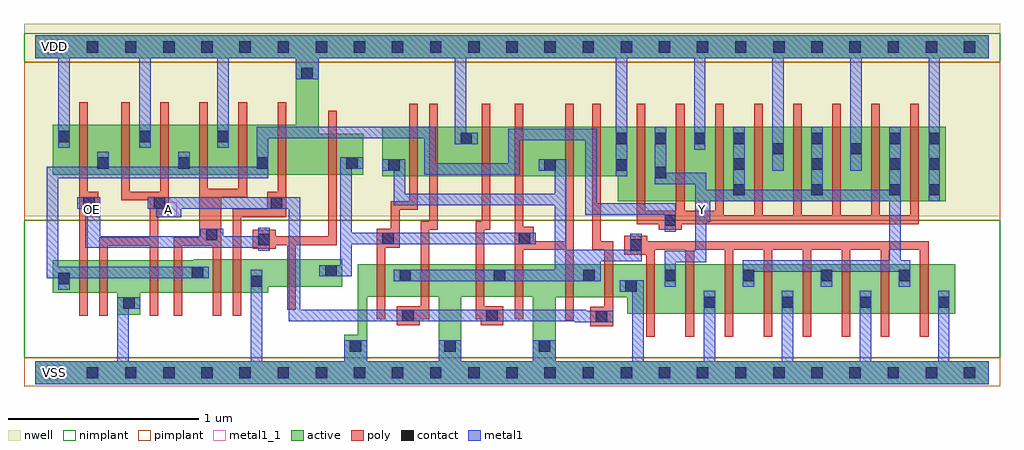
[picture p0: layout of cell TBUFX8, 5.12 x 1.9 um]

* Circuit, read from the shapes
.subckt TBUFX8 A OE VDD VSS Y
M1 n1 OE n2 VSS nfet w=0.17u l=0.045u
M2 VSS A n1 VSS nfet w=0.17u l=0.045u
M3 n3 A VSS VSS nfet w=0.17u l=0.045u
M4 n2 OE n3 VSS nfet w=0.17u l=0.045u
M5 n4 OE n2 VSS nfet w=0.175u l=0.045u
M6 VSS A n4 VSS nfet w=0.175u l=0.045u
M7 n5 OE VSS VSS nfet w=0.145u l=0.045u
M8 n6 n5 VSS VSS nfet w=0.17u l=0.045u m=2
M9 VSS A n6 VSS nfet w=0.17u l=0.045u m=2
M10 n6 n5 VSS VSS nfet w=0.175u l=0.045u
M11 VSS A n6 VSS nfet w=0.175u l=0.045u
M12 Y n6 VSS VSS nfet w=0.26u l=0.045u m=8
M13 n2 OE VDD VDD pfet w=0.26u l=0.045u m=3
M14 VDD A n2 VDD pfet w=0.26u l=0.045u m=3
M15 n5 OE VDD VDD pfet w=0.215u l=0.045u
M16 n7 n5 n6 VDD pfet w=0.26u l=0.045u
M17 VDD A n7 VDD pfet w=0.26u l=0.045u
M18 n8 A VDD VDD pfet w=0.26u l=0.045u
M19 n6 n5 n8 VDD pfet w=0.26u l=0.045u
M20 n9 n5 n6 VDD pfet w=0.26u l=0.045u
M21 VDD A n9 VDD pfet w=0.26u l=0.045u
M22 Y n2 VDD VDD pfet w=0.39u l=0.045u m=8
.ends

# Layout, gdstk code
import gdstk
lib = gdstk.Library(unit=1e-6, precision=5e-10)
def R(c, l, rs):  # rectangles x0, y0, x1, y1
    for r in rs: c.add(gdstk.rectangle(r[:2], r[2:], *l))
def A(c, l, x, y, w, h, nx, ny, dx, dy):  # array of equal rectangles
    R(c, l, [(x+i*dx, y+j*dy, x+i*dx+w, y+j*dy+h) for i in range(nx) for j in range(ny)])
def P(c, l, *ps):  # polygons
    for p in ps: c.add(gdstk.Polygon(p, *l))
active = (1, 0)
nwell = (2, 0)
poly = (3, 0)
nimplant = (4, 0)
pimplant = (5, 0)
contact = (6, 0)
metal1 = (7, 0)
metal1_1 = (7, 1)

tbufx8 = lib.new_cell('TBUFX8')
P(tbufx8, active, [(0,1.77),(5,1.77),(5,1.65),(1.485,1.65),(1.485,1.255),(1.72,1.255),(1.72,1.04),(0.09,1.04),(0.09,1.3),(1.365,1.3),(1.365,1.65),(0,1.65)],
  [(1.82,1.29),(4.775,1.29),(4.775,0.9),(3.055,0.9),(3.055,1.03),(1.82,1.03)],
  [(0.83,0.595),(1.61,0.595),(1.61,0.45),(1.22,0.45),(1.22,0.42),(0.55,0.42),(0.55,0.305),(0.43,0.305),(0.43,0.42),(0.09,0.42),(0.09,0.59),(0.83,0.59)],
  [(1.69,0.57),(4.825,0.57),(4.825,0.31),(3.105,0.31),(3.105,0.395),(2.73,0.395),(2.73,0.06),(5,0.06),(5,-0.06),(0,-0.06),(0,0.06),(1.62,0.06),(1.62,0.2),(1.69,0.2),(1.69,0.4),(1.74,0.4),(1.74,0.06),(2.115,0.06),(2.115,0.4),(2.235,0.4),(2.235,0.06),(2.61,0.06),(2.61,0.4),(1.69,0.4)])
R(tbufx8, nwell, [(-0.06,0.82,5.06,1.83)])
P(tbufx8, poly, [(0.23,1.42),(0.275,1.42),(0.275,0.95),(0.33,0.95),(0.33,0.83),(0.275,0.83),(0.275,0.3),(0.23,0.3)],
  [(0.45,1.42),(0.495,1.42),(0.495,0.95),(0.655,0.95),(0.655,1.42),(0.7,1.42),(0.7,0.83),(0.645,0.83),(0.645,0.3),(0.6,0.3),(0.6,0.665),(0.38,0.665),(0.38,0.3),(0.335,0.3),(0.335,0.71),(0.6,0.71),(0.6,0.905),(0.45,0.905)],
  [(0.86,1.42),(0.905,1.42),(0.905,0.965),(1.065,0.965),(1.065,1.42),(1.11,1.42),(1.11,0.92),(0.975,0.92),(0.975,0.3),(0.93,0.3),(0.93,0.665),(0.77,0.665),(0.77,0.3),(0.725,0.3),(0.725,0.71),(0.86,0.71)],
  [(1.27,1.42),(1.315,1.42),(1.315,0.815),(1.08,0.815),(1.08,0.3),(1.035,0.3),(1.035,0.86),(1.215,0.86),(1.215,0.95),(1.27,0.95)],
  [(1.14,0.75),(1.26,0.75),(1.26,0.715),(1.535,0.715),(1.535,1.375),(1.58,1.375),(1.58,0.67),(1.365,0.67),(1.365,0.33),(1.32,0.33),(1.32,0.67),(1.26,0.67),(1.26,0.65),(1.14,0.65)],
  [(1.96,1.41),(2.005,1.41),(2.005,0.855),(1.91,0.855),(1.91,0.655),(1.835,0.655),(1.835,0.28),(1.79,0.28),(1.79,0.755),(1.865,0.755),(1.865,0.9),(1.96,0.9)],
  [(2.065,1.41),(2.11,1.41),(2.11,0.75),(2.065,0.75),(2.065,0.28),(2.015,0.28),(2.015,0.25),(1.895,0.25),(1.895,0.35),(2.02,0.35),(2.02,0.795),(2.065,0.795)],
  [(2.34,1.41),(2.385,1.41),(2.385,0.75),(2.355,0.75),(2.355,0.35),(2.455,0.35),(2.455,0.25),(2.335,0.25),(2.335,0.28),(2.31,0.28),(2.31,0.795),(2.34,0.795)],
  [(2.515,1.41),(2.56,1.41),(2.56,0.765),(2.615,0.765),(2.615,0.69),(2.78,0.69),(2.78,1.41),(2.825,1.41),(2.825,0.275),(2.78,0.275),(2.78,0.645),(2.56,0.645),(2.56,0.28),(2.515,0.28)],
  [(2.92,1.41),(2.965,1.41),(2.965,0.69),(3.03,0.69),(3.03,0.245),(2.91,0.245),(2.91,0.345),(2.985,0.345),(2.985,0.645),(2.92,0.645)],
  [(3.155,1.41),(3.2,1.41),(3.2,0.85),(3.36,0.85),(3.36,1.41),(3.405,1.41),(3.405,0.85),(3.565,0.85),(3.565,1.41),(3.61,1.41),(3.61,0.825),(3.77,0.825),(3.77,1.41),(3.815,1.41),(3.815,0.825),(3.975,0.825),(3.975,1.41),(4.02,1.41),(4.02,0.825),(4.18,0.825),(4.18,1.41),(4.225,1.41),(4.225,0.825),(4.385,0.825),(4.385,1.41),(4.43,1.41),(4.43,0.825),(4.59,0.825),(4.59,1.41),(4.635,1.41),(4.635,0.78),(3.39,0.78),(3.39,0.75),(3.27,0.75),(3.27,0.78),(3.155,0.78)],
  [(3.09,0.72),(3.21,0.72),(3.21,0.69),(4.685,0.69),(4.685,0.19),(4.64,0.19),(4.64,0.645),(4.48,0.645),(4.48,0.19),(4.435,0.19),(4.435,0.645),(4.275,0.645),(4.275,0.19),(4.23,0.19),(4.23,0.645),(4.07,0.645),(4.07,0.19),(4.025,0.19),(4.025,0.645),(3.865,0.645),(3.865,0.19),(3.82,0.19),(3.82,0.645),(3.66,0.645),(3.66,0.19),(3.615,0.19),(3.615,0.645),(3.455,0.645),(3.455,0.19),(3.41,0.19),(3.41,0.645),(3.25,0.645),(3.25,0.19),(3.205,0.19),(3.205,0.62),(3.09,0.62)])
R(tbufx8, nimplant, [(-0.06,0.08,5.06,0.8), (-0.06,1.63,5.06,1.78)])
R(tbufx8, pimplant, [(-0.06,-0.07,5.06,0.08), (-0.06,0.8,5.06,1.63)])
A(tbufx8, contact, 0.07, -0.03, 0.06, 0.06, 25, 2, 0.2, 1.71)
A(tbufx8, contact, 1.65, 0.11, 0.06, 0.06, 3, 1, 0.495, 0)
A(tbufx8, contact, 3.505, 0.34, 0.06, 0.06, 4, 1, 0.41, 0)
A(tbufx8, contact, 3.3, 0.48, 0.06, 0.06, 4, 1, 0.41, 0)
A(tbufx8, contact, 3.66, 0.93, 0.06, 0.06, 3, 2, 0.41, 0.135)
A(tbufx8, contact, 4.685, 0.93, 0.06, 0.06, 1, 3, 0, 0.135)
A(tbufx8, contact, 3.045, 1.2, 0.06, 0.06, 4, 1, 0.205, 0)
R(tbufx8, contact, [(2.94,0.265,3,0.325), (1.925,0.27,1.985,0.33), (2.365,0.27,2.425,0.33), (0.46,0.335,0.52,0.395), (3.095,0.425,3.155,0.485), (1.13,0.45,1.19,0.51), (0.12,0.465,0.18,0.525), (1.91,0.48,1.97,0.54), (2.405,0.48,2.465,0.54), (2.875,0.48,2.935,0.54), (0.82,0.495,0.88,0.555), (1.52,0.505,1.58,0.565), (3.12,0.64,3.18,0.7), (1.17,0.67,1.23,0.73), (1.82,0.675,1.88,0.735), (2.535,0.675,2.595,0.735), (0.895,0.695,0.955,0.755), (3.3,0.77,3.36,0.83), (0.25,0.86,0.31,0.92), (0.62,0.86,0.68,0.92), (1.235,0.86,1.295,0.92), (3.25,1.02,3.31,1.08), (1.85,1.06,1.91,1.12), (2.67,1.06,2.73,1.12), (3.045,1.06,3.105,1.12), (0.325,1.07,0.385,1.13), (0.75,1.07,0.81,1.13), (1.16,1.07,1.22,1.13), (1.63,1.07,1.69,1.13), (3.865,1.145,3.925,1.205), (4.275,1.145,4.335,1.205), (2.23,1.2,2.29,1.26), (4.07,1.2,4.13,1.26), (4.48,1.2,4.54,1.26), (0.12,1.21,0.18,1.27), (0.545,1.21,0.605,1.27), (0.955,1.21,1.015,1.27), (1.395,1.54,1.455,1.6)])
P(tbufx8, metal1, [(0,1.77),(5,1.77),(5,1.65),(4.745,1.65),(4.745,0.9),(4.685,0.9),(4.685,1.65),(4.335,1.65),(4.335,1.06),(4.275,1.06),(4.275,1.65),(3.925,1.65),(3.925,1.06),(3.865,1.06),(3.865,1.65),(3.515,1.65),(3.515,1.17),(3.455,1.17),(3.455,1.65),(3.105,1.65),(3.105,1.03),(3.045,1.03),(3.045,1.65),(2.26,1.65),(2.26,1.26),(2.32,1.26),(2.32,1.2),(2.2,1.2),(2.2,1.65),(1.485,1.65),(1.485,1.54),(1.365,1.54),(1.365,1.65),(1.015,1.65),(1.015,1.18),(0.955,1.18),(0.955,1.65),(0.605,1.65),(0.605,1.18),(0.545,1.18),(0.545,1.65),(0.18,1.65),(0.18,1.18),(0.12,1.18),(0.12,1.65),(0,1.65)],
  [(1.16,1.29),(2.1,1.29),(2.1,1.1),(2.48,1.1),(2.48,1.28),(2.945,1.28),(2.945,0.89),(3.36,0.89),(3.36,0.74),(3.3,0.74),(3.3,0.83),(2.885,0.83),(2.885,1.22),(2.54,1.22),(2.54,1.04),(2.04,1.04),(2.04,1.23),(1.22,1.23),(1.22,1.02),(0.12,1.02),(0.12,0.555),(0.91,0.555),(0.91,0.495),(0.18,0.495),(0.18,0.435),(0.12,0.435),(0.12,0.495),(0.06,0.495),(0.06,1.08),(0.325,1.08),(0.325,1.16),(0.385,1.16),(0.385,1.08),(0.75,1.08),(0.75,1.16),(0.81,1.16),(0.81,1.08),(1.16,1.08)],
  [(1.6,1.13),(1.72,1.13),(1.72,1.07),(1.66,1.07),(1.66,0.735),(2.625,0.735),(2.625,0.675),(1.66,0.675),(1.66,0.505),(1.49,0.505),(1.49,0.565),(1.6,0.565)],
  [(1.82,1.12),(1.94,1.12),(1.94,0.94),(2.725,0.94),(2.725,1.06),(2.64,1.06),(2.64,1.12),(2.785,1.12),(2.785,0.645),(3.12,0.645),(3.12,0.73),(3.18,0.73),(3.18,0.585),(2.965,0.585),(2.965,0.48),(1.88,0.48),(1.88,0.54),(2.725,0.54),(2.725,0.88),(1.88,0.88),(1.88,1.06),(1.82,1.06)],
  [(0.22,0.92),(0.34,0.92),(0.34,0.715),(0.865,0.715),(0.865,0.755),(0.985,0.755),(0.985,0.715),(1.17,0.715),(1.17,0.76),(1.23,0.76),(1.23,0.64),(1.17,0.64),(1.17,0.655),(0.26,0.655),(0.26,0.86),(0.22,0.86)],
  [(0.59,0.92),(1.39,0.92),(1.39,0.33),(2.89,0.33),(2.89,0.325),(3.03,0.325),(3.03,0.265),(2.83,0.265),(2.83,0.27),(1.33,0.27),(1.33,0.86),(0.765,0.86),(0.765,0.815),(0.635,0.815),(0.635,0.86),(0.59,0.86)],
  [(0.43,0.395),(0.55,0.395),(0.55,0.335),(0.49,0.335),(0.49,0.06),(1.13,0.06),(1.13,0.54),(1.19,0.54),(1.19,0.06),(1.62,0.06),(1.62,0.17),(1.74,0.17),(1.74,0.06),(2.115,0.06),(2.115,0.17),(2.235,0.17),(2.235,0.06),(2.61,0.06),(2.61,0.17),(2.73,0.17),(2.73,0.06),(3.13,0.06),(3.13,0.425),(3.065,0.425),(3.065,0.485),(3.19,0.485),(3.19,0.06),(3.505,0.06),(3.505,0.43),(3.565,0.43),(3.565,0.06),(3.915,0.06),(3.915,0.43),(3.975,0.43),(3.975,0.06),(4.325,0.06),(4.325,0.43),(4.385,0.43),(4.385,0.06),(4.735,0.06),(4.735,0.43),(4.795,0.43),(4.795,0.06),(5,0.06),(5,-0.06),(0,-0.06),(0,0.06),(0.43,0.06)],
  [(3.25,1.29),(3.31,1.29),(3.31,1.05),(3.52,1.05),(3.52,0.96),(3.66,0.96),(3.66,1.29),(3.72,1.29),(3.72,0.96),(4.07,0.96),(4.07,1.29),(4.13,1.29),(4.13,0.96),(4.48,0.96),(4.48,1.29),(4.54,1.29),(4.54,0.59),(4.59,0.59),(4.59,0.45),(4.53,0.45),(4.53,0.53),(4.18,0.53),(4.18,0.45),(4.12,0.45),(4.12,0.53),(3.77,0.53),(3.77,0.45),(3.71,0.45),(3.71,0.59),(4.48,0.59),(4.48,0.9),(3.54,0.9),(3.54,0.79),(3.52,0.79),(3.52,0.58),(3.36,0.58),(3.36,0.45),(3.3,0.45),(3.3,0.64),(3.46,0.64),(3.46,0.99),(3.25,0.99)])
R(tbufx8, metal1_1, [(0.06,-0.04,0.14,0.04), (0.26,0.815,0.34,0.895), (0.66,0.815,0.74,0.895), (3.46,0.815,3.54,0.895), (0.06,1.67,0.14,1.75)])
tbufx8.add(gdstk.Label('Y', (3.5,0.855), layer=7, texttype=1))
tbufx8.add(gdstk.Label('A', (0.7,0.855), layer=7, texttype=1))
tbufx8.add(gdstk.Label('OE', (0.3,0.855), layer=7, texttype=1))
tbufx8.add(gdstk.Label('VDD', (0.1,1.71), layer=7, texttype=1))
tbufx8.add(gdstk.Label('VSS', (0.1,0), layer=7, texttype=1))
tbufx8.add(gdstk.Label('TBUFX8', (0,0), layer=63, texttype=0))

lib.write_gds('TBUFX8.gds')
